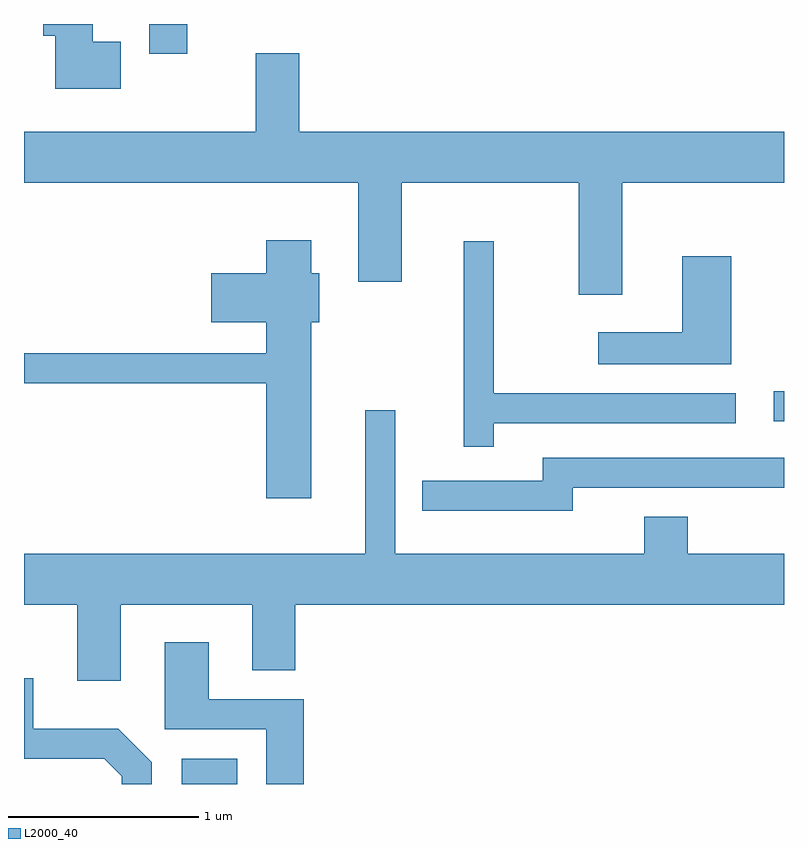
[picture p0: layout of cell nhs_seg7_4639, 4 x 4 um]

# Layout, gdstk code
import gdstk
lib = gdstk.Library(unit=1e-6, precision=1e-09)
def R(c, l, rs):  # rectangles x0, y0, x1, y1
    for r in rs: c.add(gdstk.rectangle(r[:2], r[2:], *l))
def P(c, l, *ps):  # polygons
    for p in ps: c.add(gdstk.Polygon(p, *l))
L2000_40 = (2000, 40)

nhs_seg7_4639 = lib.new_cell('nhs_seg7_4639')
R(nhs_seg7_4639, L2000_40, [(328.441,1722.252,328.734,1722.384), (331.558,1724.161,331.611,1724.319), (328.271,1726.096,328.469,1726.252), (328.711,1726.251,329.094,1726.252)])
P(nhs_seg7_4639, L2000_40, [(328.119,1726.159),(327.974,1726.159),(327.974,1726.252),(327.711,1726.252),(327.711,1726.191),(327.776,1726.191),(327.776,1725.911),(328.119,1725.911)],
  [(330.759,1725.416),(331.611,1725.416),(331.611,1725.684),(329.059,1725.684),(329.059,1726.099),(328.831,1726.099),(328.831,1725.684),(327.611,1725.684),(327.611,1725.416),(329.371,1725.416),(329.371,1724.896),(329.599,1724.896),(329.599,1725.416),(330.531,1725.416),(330.531,1724.826),(330.759,1724.826)],
  [(329.124,1724.681),(329.164,1724.681),(329.164,1724.939),(329.124,1724.939),(329.124,1725.114),(328.886,1725.114),(328.886,1724.939),(328.596,1724.939),(328.596,1724.681),(328.886,1724.681),(328.886,1724.519),(327.611,1724.519),(327.611,1724.361),(328.886,1724.361),(328.886,1723.756),(329.124,1723.756)],
  [(330.084,1724.151),(331.358,1724.151),(331.358,1724.309),(330.084,1724.309),(330.084,1725.108),(329.926,1725.108),(329.926,1724.028),(330.084,1724.028)],
  [(331.334,1725.029),(331.076,1725.029),(331.076,1724.629),(330.633,1724.629),(330.633,1724.461),(331.334,1724.461)],
  [(328.119,1723.196),(328.811,1723.196),(328.811,1722.851),(329.039,1722.851),(329.039,1723.196),(331.611,1723.196),(331.611,1723.464),(331.104,1723.464),(331.104,1723.659),(330.876,1723.659),(330.876,1723.464),(329.564,1723.464),(329.564,1724.218),(329.406,1724.218),(329.406,1723.464),(327.611,1723.464),(327.611,1723.196),(327.891,1723.196),(327.891,1722.796),(328.119,1722.796)],
  [(330.499,1723.811),(331.611,1723.811),(331.611,1723.969),(330.341,1723.969),(330.341,1723.849),(329.708,1723.849),(329.708,1723.691),(330.499,1723.691)],
  [(329.084,1722.699),(328.584,1722.699),(328.584,1722.999),(328.351,1722.999),(328.351,1722.541),(328.886,1722.541),(328.886,1722.252),(329.084,1722.252)],
  [(328.284,1722.367),(328.107,1722.544),(327.659,1722.544),(327.659,1722.809),(327.611,1722.809),(327.611,1722.386),(328.034,1722.386),(328.126,1722.294),(328.126,1722.252),(328.284,1722.252)])

lib.write_gds('nhs_seg7_4639.gds')
